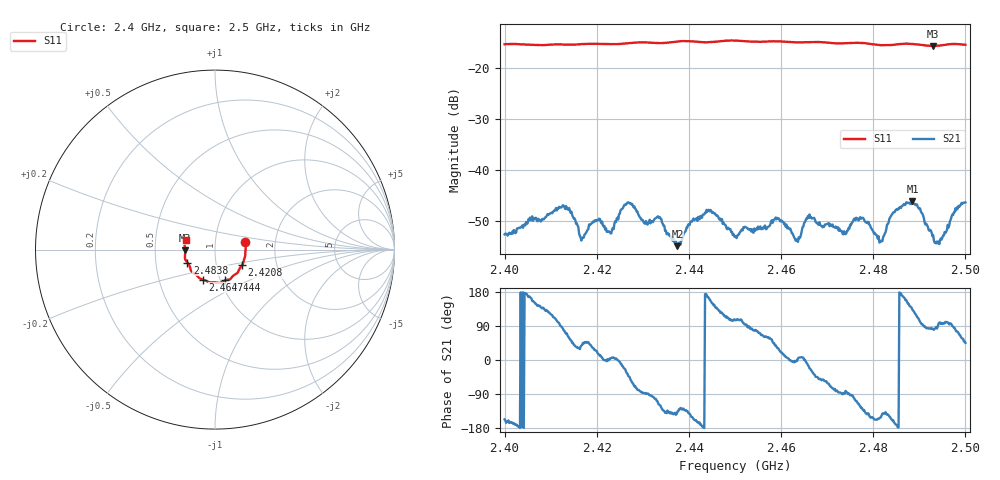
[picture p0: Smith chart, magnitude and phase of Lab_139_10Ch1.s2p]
# Hz S RI R 50
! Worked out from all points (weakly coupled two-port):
!   601 points, 2.4 GHz to 2.5 GHz, reference 50 ohm
!   highest |S21| = -46.17 dB at 2.4885 GHz (marker M1); lowest = -55.0 dB at 2.4375 GHz (marker M2)
!   lowest |S11| = -15.6 dB at 2.493 GHz (marker M3), VSWR 1.40, Z = 35.8 - j0.215 ohm
!   |S11| at or under -10 dB: start of sweep to end of sweep
!   S12 and S22 are empty: the file has one direction only
!   S11 on the Smith chart (normalised r, x): 2.4 GHz: 1.40, +0.12; 2.4208 GHz: 1.33, -0.24; 2.444 GHz: 1.06, -0.37; 2.4647 GHz: 0.83, -0.29; 2.4838 GHz: 0.73, -0.11; 2.5 GHz: 0.72, +0.08
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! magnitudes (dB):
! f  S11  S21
! 2.4 GHz  -15.3  -52.7
! 2.4123 GHz  -15.3  -47.4
! 2.4167 GHz  -15.2  -53.9
! 2.4208 GHz  -15.2  -50.1
! 2.4232 GHz  -15.2  -52.5
! 2.427 GHz  -15.0  -46.5
! 2.4333 GHz  -15.0  -49.1
! 2.4375 GHz  -14.7  -55.0
! 2.444 GHz  -14.9  -48.2
! 2.45 GHz  -14.5  -53.0
! 2.459 GHz  -14.7  -49.7
! 2.4632 GHz  -14.9  -53.9
! 2.4647 GHz  -14.9  -51.2
! 2.4667 GHz  -14.8  -49.5
! 2.4737 GHz  -15.1  -52.1
! 2.4775 GHz  -15.0  -49.4
! 2.4815 GHz  -15.4  -54.1
! 2.4833 GHz  -15.5  -50.4
! 2.4838 GHz  -15.4  -49.1
! 2.4885 GHz  -15.2  -46.2
! 2.493 GHz  -15.6  -52.8
! 2.5 GHz  -15.4  -46.4
